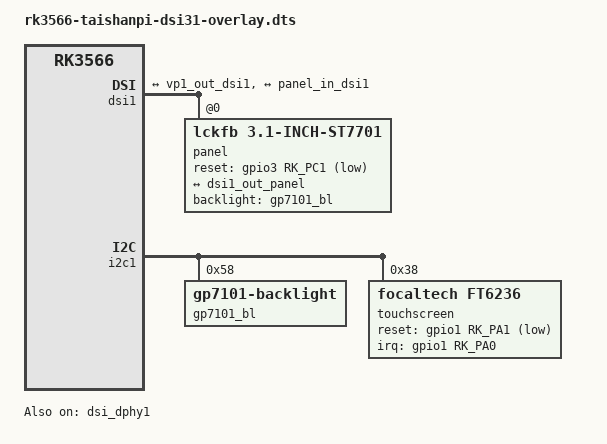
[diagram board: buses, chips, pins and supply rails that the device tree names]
// SPDX-License-Identifier: (GPL-2.0+ OR MIT)
/*
 * LCKFB Taishan Pi RK3566 - 3.1-inch MIPI DSI panel (ST7701 800x480) overlay.
 *
 * The mainline rk3566-lckfb-tspi.dts only wires HDMI (VP0).  This overlay adds
 * the DSI1 output path for the LCKFB-mipi-3.1inch-screen extension board on
 * VP1 (VP0 stays with HDMI, matching the mainline board DTS).
 *
 * Wiring follows the official vendor BSP dtsi (tspi-rk3566-dsi-v10.dtsi) and
 * the extension board documentation (wiki.lckfb.com 胖妞手机扩展板):
 *   - panel reset on GPIO3_C1 (active low)
 *   - &dsi1 with the st7701 panel as a child node, 2 lanes, lane-rate 480
 *   - backlight: the extension board drives the panel backlight with its own
 *     SY7201ABC circuit (20 mA); brightness is set through the GP7101
 *     I2C-to-PWM chip on I2C1 (addr 0x58).  The board's onboard backlight
 *     circuit (PWM5, 110 mA) must NOT be used for this panel.
 *   - touch: FocalTech FT6236 on I2C1 (addr 0x38), IRQ on GPIO1_A0 (active
 *     low), reset on GPIO1_A1 (active high per LCKFB's driver).
 *
 * The panel and GP7101 drivers are provided by the taishanpi-kernel patches.
 */

/dts-v1/;
/plugin/;

/*
 * nixpkgs' apply_overlays.py matches an overlay against the base .dtb by the
 * overlay root's `compatible`; without it the overlay is silently skipped.
 * Values match the mainline rk3566-lckfb-tspi.dts root.
 */
/ {
	compatible = "lckfb,tspi-rk3566", "rockchip,rk3566";
};

#include <dt-bindings/gpio/gpio.h>
#include <dt-bindings/interrupt-controller/irq.h>
#include <dt-bindings/pinctrl/rockchip.h>
#include <dt-bindings/soc/rockchip,vop2.h>

&dsi_dphy1 {
	status = "okay";
};

&dsi1 {
	status = "okay";
	/* Vendor BSP value (tspi-rk3566-dsi-v10.dtsi). */
	rockchip,lane-rate = <1000>;
	#address-cells = <1>;
	#size-cells = <0>;

	ports {
		#address-cells = <1>;
		#size-cells = <0>;

		dsi1_in: port@0 {
			reg = <0>;
			dsi1_in_vp1: endpoint {
				remote-endpoint = <&vp1_out_dsi1>;
			};
		};

		dsi1_out: port@1 {
			reg = <1>;
			dsi1_out_panel: endpoint {
				remote-endpoint = <&panel_in_dsi1>;
			};
		};
	};

	panel: panel@0 {
		compatible = "lckfb,3.1-inch-st7701";
		reg = <0>;
		backlight = <&gp7101_bl>;
		reset-gpios = <&gpio3 RK_PC1 GPIO_ACTIVE_LOW>;
		pinctrl-names = "default";
		pinctrl-0 = <&dsi1_rst_gpio>;
		reset-delay-ms = <10>;
		enable-delay-ms = <120>;
		prepare-delay-ms = <20>;
		unprepare-delay-ms = <20>;
		disable-delay-ms = <50>;

		port {
			panel_in_dsi1: endpoint {
				remote-endpoint = <&dsi1_out_panel>;
			};
		};
	};
};

&i2c1 {
	#address-cells = <1>;
	#size-cells = <0>;

	gp7101_bl: backlight@58 {
		compatible = "gp7101-backlight";
		reg = <0x58>;
		max-brightness-levels = <255>;
		default-brightness-level = <100>;
	};

	touchscreen@38 {
		compatible = "focaltech,ft6236";
		reg = <0x38>;
		interrupt-parent = <&gpio1>;
		interrupts = <RK_PA0 IRQ_TYPE_EDGE_FALLING>;
		/* FocalTech reset pin: pulled LOW to reset, per LCKFB's driver which
		   drives 0 to assert and 1 to release (the BSP dtsi's ACTIVE_HIGH is
			 written for raw-gpio semantics, not gpiod). */
		reset-gpios = <&gpio1 RK_PA1 GPIO_ACTIVE_LOW>;
		touchscreen-size-x = <480>;
		touchscreen-size-y = <800>;
	};
};

&vp1 {
	vp1_out_dsi1: endpoint@ROCKCHIP_VOP2_EP_MIPI1 {
		reg = <ROCKCHIP_VOP2_EP_MIPI1>;
		remote-endpoint = <&dsi1_in_vp1>;
	};
};

&pinctrl {
	lcd {
		dsi1_rst_gpio: dsi1-rst-gpio {
			rockchip,pins = <3 RK_PC1 RK_FUNC_GPIO &pcfg_pull_none>;
		};
	};
};
